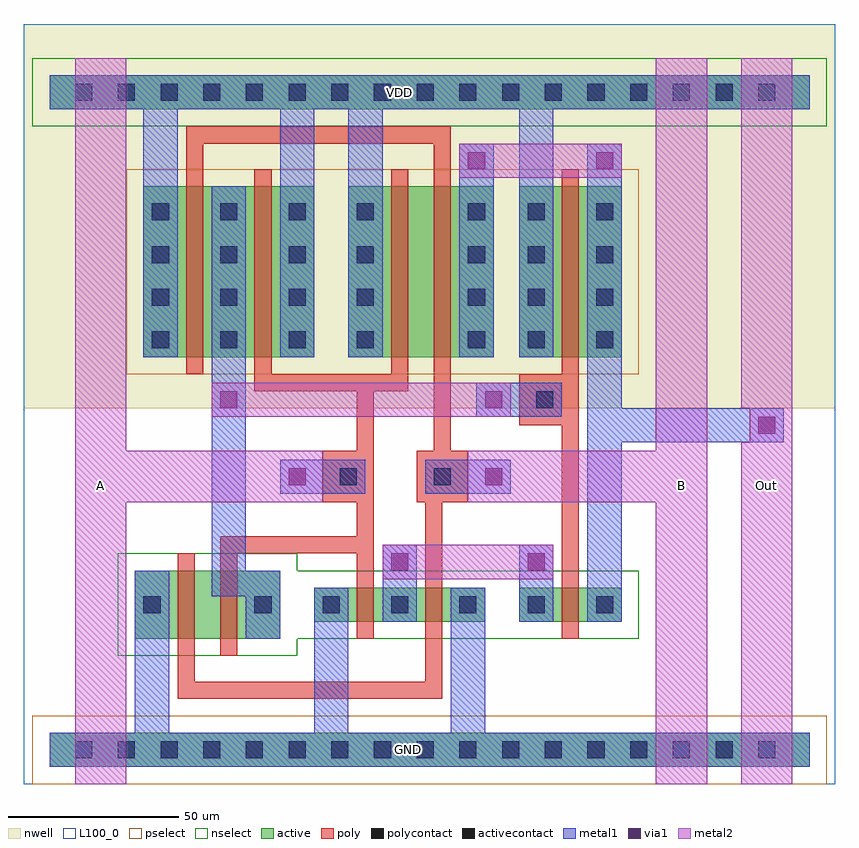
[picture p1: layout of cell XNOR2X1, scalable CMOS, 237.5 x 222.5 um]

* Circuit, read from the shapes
.subckt XNOR2X1 A B GND Out VDD
M1 n1 B GND GND nfet w=20u l=5u
M2 n2 A n1 GND nfet w=20u l=5u
M3 n3 A GND GND nfet w=10u l=5u
M4 GND B n3 GND nfet w=10u l=5u
M5 Out n2 n3 GND nfet w=10u l=5u
M6 n2 B VDD VDD pfet w=50u l=5u
M7 VDD A n2 VDD pfet w=50u l=5u
M8 n4 A VDD VDD pfet w=50u l=5u
M9 Out B n4 VDD pfet w=50u l=5u
M10 Out n2 VDD VDD pfet w=50u l=5u
.ends

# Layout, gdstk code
import gdstk
lib = gdstk.Library(unit=1e-6, precision=1e-09)
def R(c, l, rs):  # rectangles x0, y0, x1, y1
    for r in rs: c.add(gdstk.rectangle(r[:2], r[2:], *l))
def A(c, l, x, y, w, h, nx, ny, dx, dy):  # array of equal rectangles
    R(c, l, [(x+i*dx, y+j*dy, x+i*dx+w, y+j*dy+h) for i in range(nx) for j in range(ny)])
nwell = (42, 0)
active = (43, 0)
pselect = (44, 0)
nselect = (45, 0)
poly = (46, 0)
polycontact = (47, 0)
activecontact = (48, 0)
metal1 = (49, 0)
via1 = (50, 0)
metal2 = (51, 0)
L100_0 = (100, 0)

xnor2x1 = lib.new_cell('XNOR2X1')
R(xnor2x1, nwell, [(0,110,237.5,112.5), (0,112.5,237.5,222.5), (7.5,112.5,230,190), (0,190,237.5,215), (7.5,215,230,222.5)])
R(xnor2x1, active, [(7.5,5,230,15), (32.5,42.5,75,62.5), (85,47.5,135,57.5), (145,47.5,175,57.5), (35,125,85,175), (95,125,137.5,175), (145,125,175,175), (7.5,197.5,230,207.5)])
R(xnor2x1, pselect, [(2.5,0,235,20), (30,120,180,180)])
R(xnor2x1, nselect, [(27.5,37.5,80,42.5), (27.5,42.5,180,62.5), (27.5,62.5,80,67.5), (2.5,192.5,235,212.5)])
R(xnor2x1, poly, [(45,25,122.5,30), (45,30,50,67.5), (117.5,30,122.5,82.5), (57.5,37.5,62.5,67.5), (97.5,42.5,102.5,67.5), (157.5,42.5,162.5,105), (57.5,67.5,102.5,72.5), (97.5,72.5,102.5,82.5), (87.5,82.5,102.5,97.5), (115,82.5,130,97.5), (97.5,97.5,102.5,115), (120,97.5,125,187.5), (145,105,162.5,120), (67.5,115,112.5,120), (47.5,120,52.5,187.5), (67.5,120,72.5,180), (107.5,120,112.5,180), (157.5,120,162.5,180), (47.5,187.5,125,192.5)])
R(xnor2x1, polycontact, [(92.5,87.5,97.5,92.5), (120,87.5,125,92.5), (150,110,155,115)])
A(xnor2x1, activecontact, 15, 7.5, 5, 5, 17, 2, 12.5, 192.5)
A(xnor2x1, activecontact, 67.5, 50, 5, 5, 6, 1, 20, 0)
A(xnor2x1, activecontact, 37.5, 127.5, 5, 5, 4, 4, 20, 12.5)
A(xnor2x1, activecontact, 130, 127.5, 5, 5, 1, 4, 0, 12.5)
A(xnor2x1, activecontact, 147.5, 127.5, 5, 5, 1, 4, 0, 12.5)
A(xnor2x1, activecontact, 167.5, 127.5, 5, 5, 1, 4, 0, 12.5)
R(xnor2x1, activecontact, [(35,50,40,55)])
R(xnor2x1, metal1, [(7.5,5,230,15), (32.5,15,42.5,62.5), (85,15,95,57.5), (125,15,135,57.5), (65,42.5,75,55), (105,47.5,115,70), (145,47.5,155,70), (165,47.5,175,100), (55,55,75,62.5), (55,62.5,65,175), (75,85,100,95), (117.5,85,142.5,95), (165,100,222.5,110), (132.5,107.5,157.5,117.5), (165,110,175,187.5), (35,125,45,197.5), (75,125,85,197.5), (95,125,105,197.5), (127.5,125,137.5,187.5), (145,125,155,197.5), (7.5,197.5,230,207.5)])
R(xnor2x1, via1, [(107.5,62.5,112.5,67.5), (147.5,62.5,152.5,67.5), (77.5,87.5,82.5,92.5), (135,87.5,140,92.5), (215,102.5,220,107.5), (57.5,110,62.5,115), (135,110,140,115), (130,180,135,185), (167.5,180,172.5,185)])
R(xnor2x1, metal2, [(15,0,30,82.5), (185,0,200,82.5), (210,0,225,100), (105,60,155,70), (15,82.5,87.5,97.5), (130,82.5,200,97.5), (15,97.5,30,212.5), (185,97.5,200,212.5), (212.5,100,225,110), (55,107.5,142.5,117.5), (210,110,225,212.5), (127.5,177.5,175,187.5)])
R(xnor2x1, L100_0, [(0,0,237.5,222.5)])
xnor2x1.add(gdstk.Label('GND', (112.5,10), layer=49, texttype=1))
xnor2x1.add(gdstk.Label('VDD', (110,202.5), layer=49, texttype=1))
xnor2x1.add(gdstk.Label('A', (22.5,87.5), layer=51, texttype=1))
xnor2x1.add(gdstk.Label('B', (192.5,87.5), layer=51, texttype=1))
xnor2x1.add(gdstk.Label('Out', (217.5,87.5), layer=51, texttype=1))

lib.write_gds('XNOR2X1.gds')
